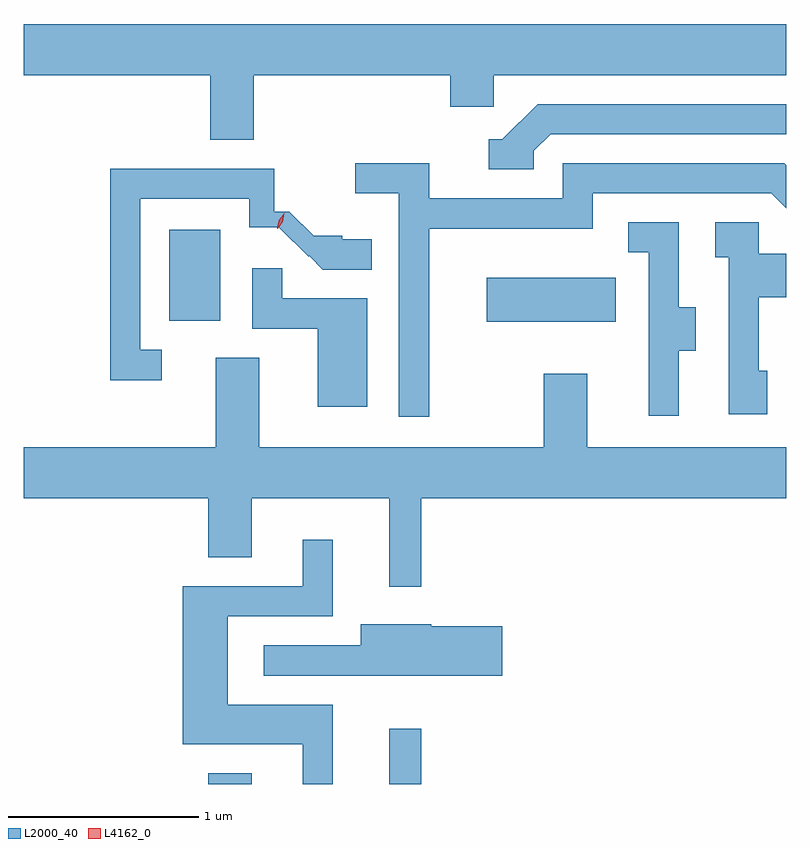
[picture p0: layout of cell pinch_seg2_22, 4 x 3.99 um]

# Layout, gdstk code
import gdstk
lib = gdstk.Library(unit=1e-6, precision=1e-09)
def R(c, l, rs):  # rectangles x0, y0, x1, y1
    for r in rs: c.add(gdstk.rectangle(r[:2], r[2:], *l))
def P(c, l, *ps):  # polygons
    for p in ps: c.add(gdstk.Polygon(p, *l))
L2000_40 = (2000, 40)
L4162_0 = (4162, 0)

pinch_seg2_22 = lib.new_cell('pinch_seg2_22')
R(pinch_seg2_22, L2000_40, [(1659.541,1017.957,1659.769,1018.014), (1660.491,1017.957,1660.659,1018.248), (1661.001,1020.381,1661.679,1020.614), (1659.336,1020.386,1659.604,1020.864)])
P(pinch_seg2_22, L2000_40, [(1659.779,1021.676),(1660.811,1021.676),(1660.811,1021.511),(1661.039,1021.511),(1661.039,1021.676),(1662.573,1021.676),(1662.573,1021.944),(1658.573,1021.944),(1658.573,1021.676),(1659.551,1021.676),(1659.551,1021.336),(1659.779,1021.336)],
  [(1661.249,1021.279),(1661.337,1021.366),(1662.573,1021.366),(1662.573,1021.524),(1661.269,1021.524),(1661.084,1021.339),(1661.013,1021.339),(1661.013,1021.181),(1661.249,1021.181)],
  [(1660.699,1020.871),(1661.559,1020.871),(1661.559,1021.056),(1662.494,1021.056),(1662.573,1020.977),(1662.573,1021.203),(1662.562,1021.214),(1661.401,1021.214),(1661.401,1021.029),(1660.699,1021.029),(1660.699,1021.214),(1660.313,1021.214),(1660.313,1021.056),(1660.541,1021.056),(1660.541,1019.883),(1660.699,1019.883)],
  [(1659.298,1020.234),(1659.184,1020.234),(1659.184,1021.026),(1659.756,1021.026),(1659.756,1020.879),(1659.911,1020.879),(1660.067,1020.723),(1660.07,1020.727),(1660.141,1020.656),(1660.398,1020.656),(1660.398,1020.814),(1660.245,1020.814),(1660.245,1020.833),(1660.093,1020.833),(1659.966,1020.96),(1659.886,1020.96),(1659.886,1021.184),(1659.026,1021.184),(1659.026,1020.076),(1659.298,1020.076)],
  [(1662.009,1020.231),(1662.099,1020.231),(1662.099,1020.459),(1662.009,1020.459),(1662.009,1020.904),(1661.743,1020.904),(1661.743,1020.746),(1661.851,1020.746),(1661.851,1019.888),(1662.009,1019.888)],
  [(1662.474,1020.124),(1662.429,1020.124),(1662.429,1020.511),(1662.573,1020.511),(1662.573,1020.739),(1662.429,1020.739),(1662.429,1020.904),(1662.201,1020.904),(1662.201,1020.721),(1662.271,1020.721),(1662.271,1019.896),(1662.474,1019.896)],
  [(1660.374,1020.504),(1659.929,1020.504),(1659.929,1020.663),(1659.771,1020.663),(1659.771,1020.346),(1660.116,1020.346),(1660.116,1019.936),(1660.374,1019.936)],
  [(1660.659,1019.456),(1662.573,1019.456),(1662.573,1019.724),(1661.529,1019.724),(1661.529,1020.109),(1661.301,1020.109),(1661.301,1019.724),(1659.809,1019.724),(1659.809,1020.194),(1659.581,1020.194),(1659.581,1019.724),(1658.573,1019.724),(1658.573,1019.456),(1659.541,1019.456),(1659.541,1019.146),(1659.769,1019.146),(1659.769,1019.456),(1660.491,1019.456),(1660.491,1018.993),(1660.659,1018.993)],
  [(1660.194,1018.374),(1659.644,1018.374),(1659.644,1018.836),(1660.194,1018.836),(1660.194,1019.238),(1660.036,1019.238),(1660.036,1018.994),(1659.406,1018.994),(1659.406,1018.166),(1660.036,1018.166),(1660.036,1017.957),(1660.194,1017.957)],
  [(1661.084,1018.784),(1660.71,1018.784),(1660.71,1018.794),(1660.341,1018.794),(1660.341,1018.684),(1659.833,1018.684),(1659.833,1018.526),(1661.084,1018.526)])
P(pinch_seg2_22, L4162_0, [(1659.904,1020.871),(1659.913,1020.915),(1659.939,1020.95),(1659.94,1020.95),(1659.94,1020.95),(1659.932,1020.906),(1659.906,1020.871),(1659.905,1020.871)],
  [(1659.905,1020.877),(1659.904,1020.878),(1659.912,1020.916),(1659.936,1020.945),(1659.937,1020.946),(1659.937,1020.945),(1659.93,1020.907),(1659.906,1020.877)])

lib.write_gds('pinch_seg2_22.gds')
